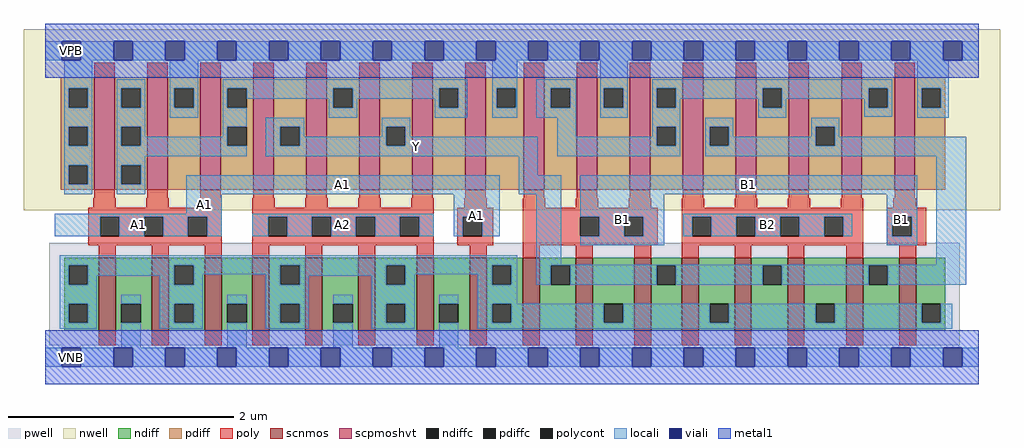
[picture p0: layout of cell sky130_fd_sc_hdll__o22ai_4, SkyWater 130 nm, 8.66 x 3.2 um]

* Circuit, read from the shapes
.subckt sky130_fd_sc_hdll__o22ai_4 A1 A2 B1 B2 VGND VNB VPB VPWR Y
XM1 VGND A1 n1 VNB sky130_fd_pr__nfet_01v8 w=0.65 l=0.15 m=4
XM2 n1 A2 VGND VNB sky130_fd_pr__nfet_01v8 w=0.65 l=0.15 m=4
XM3 Y B1 n1 VNB sky130_fd_pr__nfet_01v8 w=0.65 l=0.15 m=4
XM4 n1 B2 Y VNB sky130_fd_pr__nfet_01v8 w=0.65 l=0.15 m=4
XM5 n2 A1 VPWR VPB sky130_fd_pr__pfet_01v8_hvt w=1 l=0.18 m=4
XM6 Y A2 n2 VPB sky130_fd_pr__pfet_01v8_hvt w=1 l=0.18 m=4
XM7 n3 B1 VPWR VPB sky130_fd_pr__pfet_01v8_hvt w=1 l=0.18 m=4
XM8 Y B2 n3 VPB sky130_fd_pr__pfet_01v8_hvt w=1 l=0.18 m=4
.ends

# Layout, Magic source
magic
tech sky130A
magscale 1 2
<< nwell >>
rect -38 261 1694 582
<< pwell >>
rect 7 21 1623 203
rect 29 -17 63 21
<< scnmos >>
rect 95 47 125 177
rect 189 47 219 177
rect 283 47 313 177
rect 367 47 397 177
rect 461 47 491 177
rect 555 47 585 177
rect 659 47 689 177
rect 753 47 783 177
rect 847 47 877 177
rect 941 47 971 177
rect 1045 47 1075 177
rect 1129 47 1159 177
rect 1223 47 1253 177
rect 1317 47 1347 177
rect 1421 47 1451 177
rect 1515 47 1545 177
<< scpmoshvt >>
rect 87 297 123 497
rect 181 297 217 497
rect 275 297 311 497
rect 369 297 405 497
rect 463 297 499 497
rect 557 297 593 497
rect 651 297 687 497
rect 745 297 781 497
rect 849 297 885 497
rect 943 297 979 497
rect 1037 297 1073 497
rect 1131 297 1167 497
rect 1225 297 1261 497
rect 1319 297 1355 497
rect 1413 297 1449 497
rect 1507 297 1543 497
<< ndiff >>
rect 33 163 95 177
rect 33 129 41 163
rect 75 129 95 163
rect 33 95 95 129
rect 33 61 41 95
rect 75 61 95 95
rect 33 47 95 61
rect 125 95 189 177
rect 125 61 135 95
rect 169 61 189 95
rect 125 47 189 61
rect 219 163 283 177
rect 219 129 229 163
rect 263 129 283 163
rect 219 95 283 129
rect 219 61 229 95
rect 263 61 283 95
rect 219 47 283 61
rect 313 95 367 177
rect 313 61 323 95
rect 357 61 367 95
rect 313 47 367 61
rect 397 163 461 177
rect 397 129 417 163
rect 451 129 461 163
rect 397 95 461 129
rect 397 61 417 95
rect 451 61 461 95
rect 397 47 461 61
rect 491 95 555 177
rect 491 61 511 95
rect 545 61 555 95
rect 491 47 555 61
rect 585 163 659 177
rect 585 129 605 163
rect 639 129 659 163
rect 585 95 659 129
rect 585 61 605 95
rect 639 61 659 95
rect 585 47 659 61
rect 689 95 753 177
rect 689 61 699 95
rect 733 61 753 95
rect 689 47 753 61
rect 783 163 847 177
rect 783 129 793 163
rect 827 129 847 163
rect 783 95 847 129
rect 783 61 793 95
rect 827 61 847 95
rect 783 47 847 61
rect 877 163 941 177
rect 877 129 897 163
rect 931 129 941 163
rect 877 47 941 129
rect 971 95 1045 177
rect 971 61 991 95
rect 1025 61 1045 95
rect 971 47 1045 61
rect 1075 163 1129 177
rect 1075 129 1085 163
rect 1119 129 1129 163
rect 1075 47 1129 129
rect 1159 95 1223 177
rect 1159 61 1179 95
rect 1213 61 1223 95
rect 1159 47 1223 61
rect 1253 163 1317 177
rect 1253 129 1273 163
rect 1307 129 1317 163
rect 1253 47 1317 129
rect 1347 95 1421 177
rect 1347 61 1367 95
rect 1401 61 1421 95
rect 1347 47 1421 61
rect 1451 163 1515 177
rect 1451 129 1461 163
rect 1495 129 1515 163
rect 1451 47 1515 129
rect 1545 95 1597 177
rect 1545 61 1555 95
rect 1589 61 1597 95
rect 1545 47 1597 61
<< pdiff >>
rect 27 477 87 497
rect 27 443 41 477
rect 75 443 87 477
rect 27 409 87 443
rect 27 375 41 409
rect 75 375 87 409
rect 27 341 87 375
rect 27 307 41 341
rect 75 307 87 341
rect 27 297 87 307
rect 123 477 181 497
rect 123 443 135 477
rect 169 443 181 477
rect 123 409 181 443
rect 123 375 135 409
rect 169 375 181 409
rect 123 341 181 375
rect 123 307 135 341
rect 169 307 181 341
rect 123 297 181 307
rect 217 477 275 497
rect 217 443 229 477
rect 263 443 275 477
rect 217 297 275 443
rect 311 477 369 497
rect 311 443 323 477
rect 357 443 369 477
rect 311 409 369 443
rect 311 375 323 409
rect 357 375 369 409
rect 311 297 369 375
rect 405 409 463 497
rect 405 375 417 409
rect 451 375 463 409
rect 405 297 463 375
rect 499 477 557 497
rect 499 443 511 477
rect 545 443 557 477
rect 499 297 557 443
rect 593 409 651 497
rect 593 375 605 409
rect 639 375 651 409
rect 593 297 651 375
rect 687 477 745 497
rect 687 443 699 477
rect 733 443 745 477
rect 687 297 745 443
rect 781 477 849 497
rect 781 443 801 477
rect 835 443 849 477
rect 781 297 849 443
rect 885 477 943 497
rect 885 443 897 477
rect 931 443 943 477
rect 885 297 943 443
rect 979 477 1037 497
rect 979 443 991 477
rect 1025 443 1037 477
rect 979 297 1037 443
rect 1073 477 1131 497
rect 1073 443 1085 477
rect 1119 443 1131 477
rect 1073 409 1131 443
rect 1073 375 1085 409
rect 1119 375 1131 409
rect 1073 297 1131 375
rect 1167 409 1225 497
rect 1167 375 1179 409
rect 1213 375 1225 409
rect 1167 297 1225 375
rect 1261 477 1319 497
rect 1261 443 1273 477
rect 1307 443 1319 477
rect 1261 297 1319 443
rect 1355 409 1413 497
rect 1355 375 1367 409
rect 1401 375 1413 409
rect 1355 297 1413 375
rect 1449 477 1507 497
rect 1449 443 1461 477
rect 1495 443 1507 477
rect 1449 297 1507 443
rect 1543 477 1597 497
rect 1543 443 1555 477
rect 1589 443 1597 477
rect 1543 297 1597 443
<< ndiffc >>
rect 41 129 75 163
rect 41 61 75 95
rect 135 61 169 95
rect 229 129 263 163
rect 229 61 263 95
rect 323 61 357 95
rect 417 129 451 163
rect 417 61 451 95
rect 511 61 545 95
rect 605 129 639 163
rect 605 61 639 95
rect 699 61 733 95
rect 793 129 827 163
rect 793 61 827 95
rect 897 129 931 163
rect 991 61 1025 95
rect 1085 129 1119 163
rect 1179 61 1213 95
rect 1273 129 1307 163
rect 1367 61 1401 95
rect 1461 129 1495 163
rect 1555 61 1589 95
<< pdiffc >>
rect 41 443 75 477
rect 41 375 75 409
rect 41 307 75 341
rect 135 443 169 477
rect 135 375 169 409
rect 135 307 169 341
rect 229 443 263 477
rect 323 443 357 477
rect 323 375 357 409
rect 417 375 451 409
rect 511 443 545 477
rect 605 375 639 409
rect 699 443 733 477
rect 801 443 835 477
rect 897 443 931 477
rect 991 443 1025 477
rect 1085 443 1119 477
rect 1085 375 1119 409
rect 1179 375 1213 409
rect 1273 443 1307 477
rect 1367 375 1401 409
rect 1461 443 1495 477
rect 1555 443 1589 477
<< poly >>
rect 87 497 123 523
rect 181 497 217 523
rect 275 497 311 523
rect 369 497 405 523
rect 463 497 499 523
rect 557 497 593 523
rect 651 497 687 523
rect 745 497 781 523
rect 849 497 885 523
rect 943 497 979 523
rect 1037 497 1073 523
rect 1131 497 1167 523
rect 1225 497 1261 523
rect 1319 497 1355 523
rect 1413 497 1449 523
rect 1507 497 1543 523
rect 87 282 123 297
rect 181 282 217 297
rect 275 282 311 297
rect 369 282 405 297
rect 463 282 499 297
rect 557 282 593 297
rect 651 282 687 297
rect 745 282 781 297
rect 849 282 885 297
rect 943 282 979 297
rect 1037 282 1073 297
rect 1131 282 1167 297
rect 1225 282 1261 297
rect 1319 282 1355 297
rect 1413 282 1449 297
rect 1507 282 1543 297
rect 85 265 125 282
rect 179 265 219 282
rect 273 265 313 282
rect 76 249 313 265
rect 76 215 97 249
rect 131 215 175 249
rect 209 215 253 249
rect 287 215 313 249
rect 76 199 313 215
rect 95 177 125 199
rect 189 177 219 199
rect 283 177 313 199
rect 367 265 407 282
rect 461 265 501 282
rect 555 265 595 282
rect 649 265 689 282
rect 743 265 783 282
rect 847 265 887 282
rect 941 265 981 282
rect 1035 265 1075 282
rect 1129 265 1169 282
rect 1223 265 1263 282
rect 1317 265 1357 282
rect 1411 265 1451 282
rect 1505 265 1545 282
rect 367 249 689 265
rect 367 215 395 249
rect 429 215 473 249
rect 507 215 551 249
rect 585 215 629 249
rect 663 215 689 249
rect 367 199 689 215
rect 731 249 795 265
rect 731 215 741 249
rect 775 215 795 249
rect 731 199 795 215
rect 847 249 1087 265
rect 847 215 949 249
rect 983 215 1027 249
rect 1061 215 1087 249
rect 847 199 1087 215
rect 1129 249 1451 265
rect 1129 215 1148 249
rect 1182 215 1226 249
rect 1260 215 1304 249
rect 1338 215 1382 249
rect 1416 215 1451 249
rect 1129 199 1451 215
rect 1493 249 1563 265
rect 1493 215 1503 249
rect 1537 215 1563 249
rect 1493 199 1563 215
rect 367 177 397 199
rect 461 177 491 199
rect 555 177 585 199
rect 659 177 689 199
rect 753 177 783 199
rect 847 177 877 199
rect 941 177 971 199
rect 1045 177 1075 199
rect 1129 177 1159 199
rect 1223 177 1253 199
rect 1317 177 1347 199
rect 1421 177 1451 199
rect 1515 177 1545 199
rect 95 21 125 47
rect 189 21 219 47
rect 283 21 313 47
rect 367 21 397 47
rect 461 21 491 47
rect 555 21 585 47
rect 659 21 689 47
rect 753 21 783 47
rect 847 21 877 47
rect 941 21 971 47
rect 1045 21 1075 47
rect 1129 21 1159 47
rect 1223 21 1253 47
rect 1317 21 1347 47
rect 1421 21 1451 47
rect 1515 21 1545 47
<< polycont >>
rect 97 215 131 249
rect 175 215 209 249
rect 253 215 287 249
rect 395 215 429 249
rect 473 215 507 249
rect 551 215 585 249
rect 629 215 663 249
rect 741 215 775 249
rect 949 215 983 249
rect 1027 215 1061 249
rect 1148 215 1182 249
rect 1226 215 1260 249
rect 1304 215 1338 249
rect 1382 215 1416 249
rect 1503 215 1537 249
<< locali >>
rect 0 527 29 561
rect 63 527 121 561
rect 155 527 213 561
rect 247 527 305 561
rect 339 527 397 561
rect 431 527 489 561
rect 523 527 581 561
rect 615 527 673 561
rect 707 527 765 561
rect 799 527 857 561
rect 891 527 949 561
rect 983 527 1041 561
rect 1075 527 1133 561
rect 1167 527 1225 561
rect 1259 527 1317 561
rect 1351 527 1409 561
rect 1443 527 1501 561
rect 1535 527 1593 561
rect 1627 527 1656 561
rect 33 477 83 527
rect 33 443 41 477
rect 75 443 83 477
rect 33 409 83 443
rect 33 375 41 409
rect 75 375 83 409
rect 33 341 83 375
rect 33 307 41 341
rect 75 307 83 341
rect 33 289 83 307
rect 127 477 177 493
rect 127 443 135 477
rect 169 443 177 477
rect 127 409 177 443
rect 221 477 271 527
rect 221 443 229 477
rect 263 443 271 477
rect 221 425 271 443
rect 315 477 749 493
rect 315 443 323 477
rect 357 459 511 477
rect 127 375 135 409
rect 169 391 177 409
rect 315 409 357 443
rect 503 443 511 459
rect 545 459 699 477
rect 545 443 553 459
rect 503 425 553 443
rect 691 443 699 459
rect 733 443 749 477
rect 691 425 749 443
rect 793 477 837 527
rect 793 443 801 477
rect 835 443 837 477
rect 793 425 837 443
rect 871 477 942 493
rect 871 443 897 477
rect 931 443 942 477
rect 871 425 942 443
rect 985 477 1033 527
rect 985 443 991 477
rect 1025 443 1033 477
rect 985 425 1033 443
rect 1077 477 1503 493
rect 1077 443 1085 477
rect 1119 459 1273 477
rect 1119 443 1127 459
rect 315 391 323 409
rect 169 375 323 391
rect 127 357 357 375
rect 391 409 459 425
rect 391 375 417 409
rect 451 391 459 409
rect 597 409 647 425
rect 597 391 605 409
rect 451 375 605 391
rect 639 391 647 409
rect 908 391 942 425
rect 1077 409 1127 443
rect 1265 443 1273 459
rect 1307 459 1461 477
rect 1307 443 1315 459
rect 1265 425 1315 443
rect 1453 443 1461 459
rect 1495 443 1503 477
rect 1453 427 1503 443
rect 1547 477 1603 527
rect 1547 443 1555 477
rect 1589 443 1603 477
rect 1547 425 1603 443
rect 1077 391 1085 409
rect 639 375 874 391
rect 391 357 874 375
rect 908 375 1085 391
rect 1119 375 1127 409
rect 908 357 1127 375
rect 1171 409 1221 425
rect 1171 375 1179 409
rect 1213 391 1221 409
rect 1359 409 1409 425
rect 1359 391 1367 409
rect 1213 375 1367 391
rect 1401 391 1409 409
rect 1401 375 1634 391
rect 1171 357 1634 375
rect 127 341 177 357
rect 127 307 135 341
rect 169 307 177 341
rect 840 323 874 357
rect 127 289 177 307
rect 250 289 806 323
rect 840 289 915 323
rect 250 255 313 289
rect 17 249 313 255
rect 17 215 97 249
rect 131 215 175 249
rect 209 215 253 249
rect 287 215 313 249
rect 367 249 689 255
rect 367 215 395 249
rect 429 215 473 249
rect 507 215 551 249
rect 585 215 629 249
rect 663 215 689 249
rect 725 249 806 289
rect 725 215 741 249
rect 775 215 806 249
rect 25 163 837 181
rect 25 129 41 163
rect 75 145 229 163
rect 75 129 91 145
rect 25 95 91 129
rect 203 129 229 145
rect 263 147 417 163
rect 263 129 279 147
rect 25 61 41 95
rect 75 61 91 95
rect 25 51 91 61
rect 135 95 169 111
rect 135 17 169 61
rect 203 95 279 129
rect 391 129 417 147
rect 451 145 605 163
rect 451 129 467 145
rect 203 61 229 95
rect 263 61 279 95
rect 203 51 279 61
rect 323 95 357 111
rect 323 17 357 61
rect 391 95 467 129
rect 579 129 605 145
rect 639 147 793 163
rect 639 129 655 147
rect 391 61 417 95
rect 451 61 467 95
rect 391 51 467 61
rect 511 95 545 111
rect 511 17 545 61
rect 579 95 655 129
rect 767 129 793 147
rect 827 129 837 163
rect 871 164 915 289
rect 949 289 1547 323
rect 949 249 1098 289
rect 983 215 1027 249
rect 1061 215 1098 249
rect 1132 249 1432 255
rect 1132 215 1148 249
rect 1182 215 1226 249
rect 1260 215 1304 249
rect 1338 215 1382 249
rect 1416 215 1432 249
rect 1493 249 1547 289
rect 1493 215 1503 249
rect 1537 215 1547 249
rect 949 199 1098 215
rect 1493 199 1547 215
rect 1581 164 1634 357
rect 871 163 1634 164
rect 871 129 897 163
rect 931 129 1085 163
rect 1119 129 1273 163
rect 1307 129 1461 163
rect 1495 129 1634 163
rect 579 61 605 95
rect 639 61 655 95
rect 579 51 655 61
rect 699 95 733 111
rect 699 17 733 61
rect 767 95 837 129
rect 767 61 793 95
rect 827 61 991 95
rect 1025 61 1179 95
rect 1213 61 1367 95
rect 1401 61 1555 95
rect 1589 61 1609 95
rect 767 51 1609 61
rect 0 -17 29 17
rect 63 -17 121 17
rect 155 -17 213 17
rect 247 -17 305 17
rect 339 -17 397 17
rect 431 -17 489 17
rect 523 -17 581 17
rect 615 -17 673 17
rect 707 -17 765 17
rect 799 -17 857 17
rect 891 -17 949 17
rect 983 -17 1041 17
rect 1075 -17 1133 17
rect 1167 -17 1225 17
rect 1259 -17 1317 17
rect 1351 -17 1409 17
rect 1443 -17 1501 17
rect 1535 -17 1593 17
rect 1627 -17 1656 17
<< viali >>
rect 29 527 63 561
rect 121 527 155 561
rect 213 527 247 561
rect 305 527 339 561
rect 397 527 431 561
rect 489 527 523 561
rect 581 527 615 561
rect 673 527 707 561
rect 765 527 799 561
rect 857 527 891 561
rect 949 527 983 561
rect 1041 527 1075 561
rect 1133 527 1167 561
rect 1225 527 1259 561
rect 1317 527 1351 561
rect 1409 527 1443 561
rect 1501 527 1535 561
rect 1593 527 1627 561
rect 29 -17 63 17
rect 121 -17 155 17
rect 213 -17 247 17
rect 305 -17 339 17
rect 397 -17 431 17
rect 489 -17 523 17
rect 581 -17 615 17
rect 673 -17 707 17
rect 765 -17 799 17
rect 857 -17 891 17
rect 949 -17 983 17
rect 1041 -17 1075 17
rect 1133 -17 1167 17
rect 1225 -17 1259 17
rect 1317 -17 1351 17
rect 1409 -17 1443 17
rect 1501 -17 1535 17
rect 1593 -17 1627 17
<< metal1 >>
rect 0 561 1656 592
rect 0 527 29 561
rect 63 527 121 561
rect 155 527 213 561
rect 247 527 305 561
rect 339 527 397 561
rect 431 527 489 561
rect 523 527 581 561
rect 615 527 673 561
rect 707 527 765 561
rect 799 527 857 561
rect 891 527 949 561
rect 983 527 1041 561
rect 1075 527 1133 561
rect 1167 527 1225 561
rect 1259 527 1317 561
rect 1351 527 1409 561
rect 1443 527 1501 561
rect 1535 527 1593 561
rect 1627 527 1656 561
rect 0 496 1656 527
rect 0 17 1656 48
rect 0 -17 29 17
rect 63 -17 121 17
rect 155 -17 213 17
rect 247 -17 305 17
rect 339 -17 397 17
rect 431 -17 489 17
rect 523 -17 581 17
rect 615 -17 673 17
rect 707 -17 765 17
rect 799 -17 857 17
rect 891 -17 949 17
rect 983 -17 1041 17
rect 1075 -17 1133 17
rect 1167 -17 1225 17
rect 1259 -17 1317 17
rect 1351 -17 1409 17
rect 1443 -17 1501 17
rect 1535 -17 1593 17
rect 1627 -17 1656 17
rect 0 -48 1656 -17
<< labels >>
flabel locali s 725 215 806 289 0 FreeSans 400 0 0 0 A1
port 1 nsew signal input
flabel locali s 641 357 675 391 0 FreeSans 400 0 0 0 Y
port 9 nsew signal output
flabel locali s 367 215 689 255 0 FreeSans 400 0 0 0 A2
port 2 nsew signal input
flabel locali s 1493 199 1547 289 0 FreeSans 400 180 0 0 B1
port 3 nsew signal input
flabel locali s 1132 215 1432 255 0 FreeSans 400 180 0 0 B2
port 4 nsew signal input
flabel pwell s 29 -17 63 17 0 FreeSans 200 0 0 0 VNB
port 6 nsew ground bidirectional
flabel nwell s 29 527 63 561 0 FreeSans 200 0 0 0 VPB
port 7 nsew power bidirectional
flabel metal1 s 29 -17 63 17 0 FreeSans 200 0 0 0 VGND
port 5 nsew ground bidirectional
flabel metal1 s 29 527 63 561 0 FreeSans 200 0 0 0 VPWR
port 8 nsew power bidirectional
rlabel comment s 0 0 0 0 4 o22ai_4
rlabel locali s 250 289 806 323 1 A1
port 1 nsew signal input
rlabel locali s 250 255 313 289 1 A1
port 1 nsew signal input
rlabel locali s 17 215 313 255 1 A1
port 1 nsew signal input
rlabel locali s 949 289 1547 323 1 B1
port 3 nsew signal input
rlabel locali s 949 199 1098 289 1 B1
port 3 nsew signal input
<< properties >>
string LEFsite unithd
string LEFclass CORE
string FIXED_BBOX 0 0 1656 544
string GDS_FILE $PDKPATH/libs.ref/sky130_fd_sc_hdll/gds/sky130_fd_sc_hdll.gds
string LEFsymmetry X Y R90
string GDS_END 170986
string GDS_START 159598
string LEFproperties maskLayoutSubType "abstract" prCellType "standard" originalViewName "layout"
<< end >>
